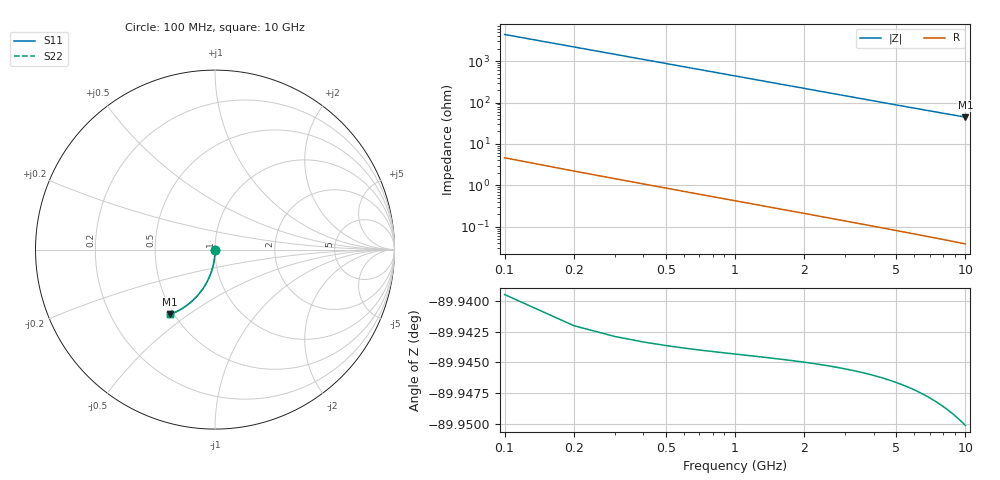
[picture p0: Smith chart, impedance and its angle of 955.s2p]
# Hz S RI R 50.00
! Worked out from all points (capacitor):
!   100 points, 100 MHz to 10 GHz, reference 50 ohm
!   read as one part in shunt: C = 363 fF near 100 MHz
!   lowest |Z| = 44.5 ohm at 10 GHz (marker M1)
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1e8  0.000129 -0.00497  0.9998 -0.00643  0.9998 -0.00643  0.000129 -0.00497
2e8  2.85e-05 -0.00994  0.9997 -0.0129  0.9997 -0.0129  2.85e-05 -0.00994
3e8  -0.000136 -0.0149  0.9995 -0.0193  0.9995 -0.0193  -0.000136 -0.0149
4e8  -0.000365 -0.0199  0.9993 -0.0257  0.9993 -0.0257  -0.000365 -0.0199
5e8  -0.000657 -0.0248  0.999 -0.0321  0.999 -0.0321  -0.000657 -0.0248
6e8  -0.00101 -0.0298  0.9986 -0.0386  0.9986 -0.0386  -0.00101 -0.0298
7e8  -0.00143 -0.0347  0.9982 -0.045  0.9982 -0.045  -0.00143 -0.0347
8e8  -0.00192 -0.0397  0.9977 -0.0514  0.9977 -0.0514  -0.00192 -0.0397
9e8  -0.00246 -0.0446  0.9971 -0.0578  0.9971 -0.0578  -0.00246 -0.0446
1.1e9  -0.00375 -0.0545  0.9958 -0.0706  0.9958 -0.0706  -0.00375 -0.0545
1.4e9  -0.00615 -0.0692  0.9933 -0.0896  0.9933 -0.0896  -0.00615 -0.0692
1.8e9  -0.0102 -0.0886  0.9891 -0.1149  0.9891 -0.1149  -0.0102 -0.0886
2.1e9  -0.0139 -0.103  0.9853 -0.1337  0.9853 -0.1337  -0.0139 -0.103
2.5e9  -0.0197 -0.1219  0.9793 -0.1585  0.9793 -0.1585  -0.0197 -0.1219
2.9e9  -0.0264 -0.1404  0.9724 -0.1828  0.9724 -0.1828  -0.0264 -0.1404
3.4e9  -0.036 -0.1629  0.9624 -0.2127  0.9624 -0.2127  -0.036 -0.1629
4.2e9  -0.0541 -0.1972  0.9436 -0.2589  0.9436 -0.2589  -0.0541 -0.1972
5.1e9  -0.0782 -0.2329  0.9186 -0.308  0.9186 -0.308  -0.0782 -0.2329
5.9e9  -0.1023 -0.2617  0.8935 -0.3489  0.8935 -0.3489  -0.1023 -0.2617
6.7e9  -0.1287 -0.2876  0.866 -0.3869  0.866 -0.3869  -0.1287 -0.2876
8.4e9  -0.1898 -0.3322  0.802 -0.4575  0.802 -0.4575  -0.1898 -0.3322
1e10  -0.2508 -0.3613  0.7374 -0.5113  0.7374 -0.5113  -0.2508 -0.3613
